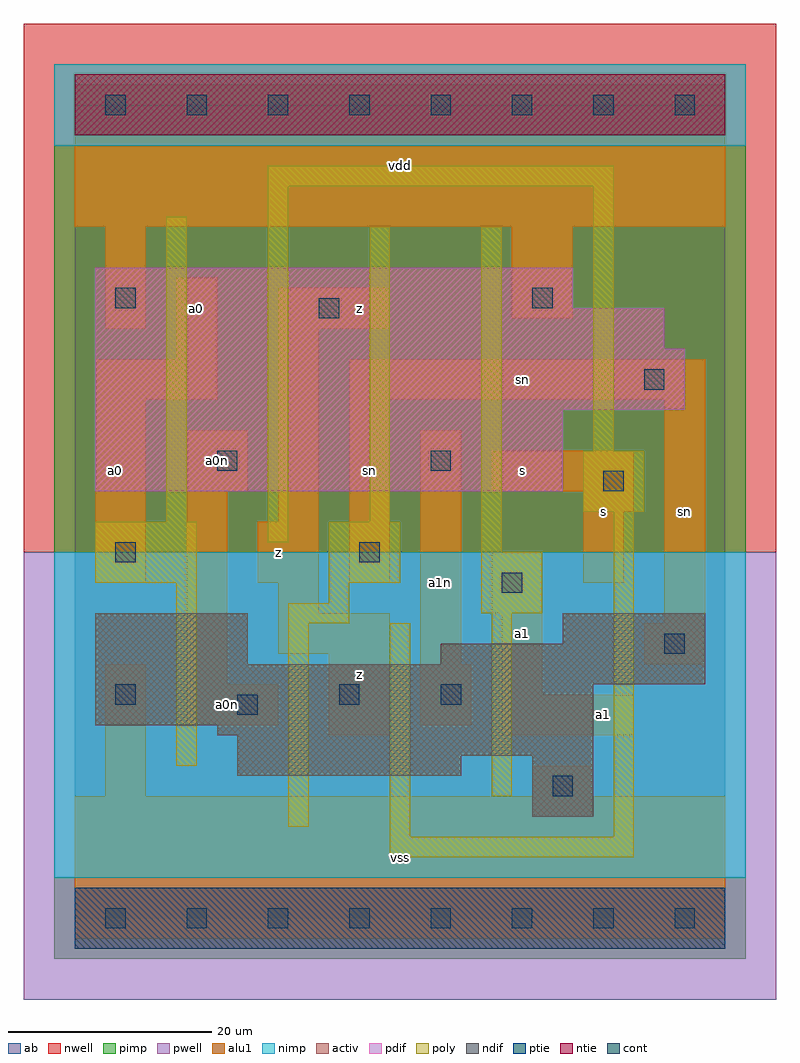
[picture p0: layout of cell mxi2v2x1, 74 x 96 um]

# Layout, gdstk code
import gdstk
lib = gdstk.Library(unit=1e-6, precision=1e-09)
def R(c, l, rs):  # rectangles x0, y0, x1, y1
    for r in rs: c.add(gdstk.rectangle(r[:2], r[2:], *l))
def A(c, l, x, y, w, h, nx, ny, dx, dy):  # array of equal rectangles
    R(c, l, [(x+i*dx, y+j*dy, x+i*dx+w, y+j*dy+h) for i in range(nx) for j in range(ny)])
ndif = (3, 0)
pdif = (4, 0)
ntie = (5, 0)
ptie = (6, 0)
cont = (25, 0)
pwell = (41, 0)
nwell = (42, 0)
activ = (43, 0)
pimp = (44, 0)
nimp = (45, 0)
poly = (46, 0)
alu1 = (49, 0)
ab = (63, 0)

mxi2v2x1 = lib.new_cell('mxi2v2x1')
R(mxi2v2x1, ndif, [(45,10,51,16), (16,14,38,16), (16,16,51,18), (14,18,51,19), (2,19,51,23), (2,23,62,25), (2,25,17,30), (36,25,62,27), (48,27,62,30)])
R(mxi2v2x1, pdif, [(2,42,48,50), (2,50,60,56), (2,56,58,60), (2,60,49,64)])
R(mxi2v2x1, ntie, [(0,77,64,83)])
R(mxi2v2x1, ptie, [(0,-3,64,3)])
A(mxi2v2x1, cont, 3, -1, 2, 2, 8, 2, 8, 80)
R(mxi2v2x1, cont, [(47,12,49,14), (16,20,18,22), (4,21,6,23), (26,21,28,23), (36,21,38,23), (58,26,60,28), (42,32,44,34), (4,35,6,37), (28,35,30,37), (52,42,54,44), (14,44,16,46), (35,44,37,46), (56,52,58,54), (24,59,26,61), (4,60,6,62), (45,60,47,62)])
R(mxi2v2x1, pwell, [(-5,-8,69,36)])
R(mxi2v2x1, nwell, [(-5,36,69,88)])
R(mxi2v2x1, activ, [(0,-3,64,3), (45,10,51,16), (16,14,38,16), (16,16,51,18), (14,18,51,19), (2,19,51,23), (2,23,62,25), (2,25,17,30), (36,25,62,27), (48,27,62,30), (2,42,48,50), (2,50,60,56), (2,56,58,60), (2,60,49,64), (0,77,64,83)])
R(mxi2v2x1, pimp, [(-2,-4,66,4), (-2,36,66,76)])
R(mxi2v2x1, nimp, [(-2,4,66,36), (-2,76,66,84)])
R(mxi2v2x1, poly, [(31,6,55,8), (31,8,33,29), (53,8,55,40), (21,9,23,29), (41,12,43,30), (10,15,12,33), (21,29,27,31), (40,30,46,36), (25,31,27,33), (2,33,12,39), (25,33,32,39), (40,36,42,68), (19,37,21,72), (9,39,11,69), (29,39,31,68), (50,40,56,46), (51,46,53,72), (19,72,53,74)])
R(mxi2v2x1, alu1, [(0,-2,64,12), (3,12,7,25), (45,12,51,15), (25,18,31,26), (42,18,55,22), (11,19,20,23), (34,19,39,25), (42,22,46,30), (11,23,15,42), (34,25,38,48), (56,25,62,29), (20,26,31,30), (58,29,62,51), (20,30,24,33), (41,30,46,36), (2,33,7,51), (18,33,24,39), (27,33,31,51), (50,33,54,40), (20,39,24,58), (50,40,55,42), (11,42,17,48), (41,42,55,46), (2,51,14,55), (27,51,62,55), (10,55,14,63), (3,58,7,68), (20,58,31,62), (43,59,49,68), (0,68,64,82)])
R(mxi2v2x1, ab, [(0,0,64,80)])
mxi2v2x1.add(gdstk.Label('a0n', (15,21), layer=49, texttype=0))
mxi2v2x1.add(gdstk.Label('sn', (29,44), layer=49, texttype=0))
mxi2v2x1.add(gdstk.Label('a0n', (14,45), layer=49, texttype=0))
mxi2v2x1.add(gdstk.Label('a1n', (36,33), layer=49, texttype=0))
mxi2v2x1.add(gdstk.Label('sn', (60,40), layer=49, texttype=0))
mxi2v2x1.add(gdstk.Label('sn', (44,53), layer=49, texttype=0))
mxi2v2x1.add(gdstk.Label('a0', (4,44), layer=49, texttype=0))
mxi2v2x1.add(gdstk.Label('a0', (12,60), layer=49, texttype=0))
mxi2v2x1.add(gdstk.Label('z', (20,36), layer=49, texttype=0))
mxi2v2x1.add(gdstk.Label('z', (28,24), layer=49, texttype=0))
mxi2v2x1.add(gdstk.Label('z', (28,60), layer=49, texttype=0))
mxi2v2x1.add(gdstk.Label('vss', (32,6), layer=49, texttype=0))
mxi2v2x1.add(gdstk.Label('a1', (44,28), layer=49, texttype=0))
mxi2v2x1.add(gdstk.Label('s', (44,44), layer=49, texttype=0))
mxi2v2x1.add(gdstk.Label('vdd', (32,74), layer=49, texttype=0))
mxi2v2x1.add(gdstk.Label('a1', (52,20), layer=49, texttype=0))
mxi2v2x1.add(gdstk.Label('s', (52,40), layer=49, texttype=0))

lib.write_gds('mxi2v2x1.gds')
